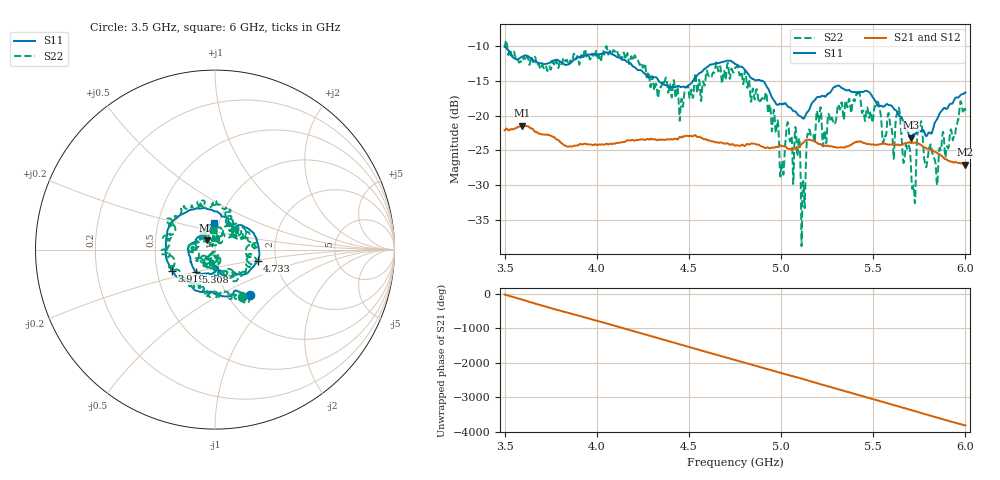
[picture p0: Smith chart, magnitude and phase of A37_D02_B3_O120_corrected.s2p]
! Created with skrf 1.9.0 (http://scikit-rf.org).
# Hz S RI R 50.0
!freq ReS11 ImS11 ReS21 ImS21 ReS12 ImS12 ReS22 ImS22
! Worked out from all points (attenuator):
!   1601 points, 3.5 GHz to 6 GHz, reference 50 ohm
!   highest |S21| = -21.45 dB at 3.594 GHz (marker M1); lowest = -27.0 dB at 6 GHz (marker M2)
!   lowest |S11| = -23.2 dB at 5.703 GHz (marker M3), VSWR 1.15, Z = 45.5 + j4.83 ohm
!   |S11| at or under -10 dB: 3.501 GHz to end of sweep
!   |S22| runs from -38.8 to -9.2 dB; largest |S21 - S12| = 0.00096
!   S11 on the Smith chart (normalised r, x): 3.5 GHz: 1.26, -0.71; 3.919 GHz: 0.60, -0.15; 4.733 GHz: 1.60, -0.22; 5.308 GHz: 0.78, -0.20; 6 GHz: 0.95, +0.28
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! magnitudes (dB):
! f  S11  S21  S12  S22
! 3.5 GHz  -10.0  -22.1  -22.1  -10.3
! 3.594 GHz  -11.5  -21.4  -21.5  -12.3
! 3.917 GHz  -11.5  -24.1  -24.1  -11.3
! 3.919 GHz  -11.5  -24.1  -24.1  -11.4
! 4.334 GHz  -14.9  -23.5  -23.4  -17.2
! 4.733 GHz  -12.2  -24.1  -24.1  -13.3
! 4.75 GHz  -12.5  -24.3  -24.3  -13.1
! 4.927 GHz  -16.0  -24.6  -24.5  -18.6
! 5.005 GHz  -18.3  -24.3  -24.4  -26.6
! 5.034 GHz  -18.6  -24.7  -24.6  -21.1
! 5.088 GHz  -19.7  -24.7  -24.7  -25.8
! 5.119 GHz  -20.4  -23.9  -23.9  -29.5
! 5.147 GHz  -19.4  -23.5  -23.5  -22.7
! 5.167 GHz  -18.2  -23.6  -23.5  -22.9
! 5.308 GHz  -15.7  -24.6  -24.5  -18.5
! 5.584 GHz  -18.5  -24.2  -24.1  -19.6
! 5.638 GHz  -19.9  -24.2  -24.2  -18.9
! 5.703 GHz  -23.2  -23.9  -23.9  -26.6
! 5.72 GHz  -22.6  -23.9  -23.9  -30.2
! 5.755 GHz  -22.3  -24.1  -24.1  -21.1
! 5.842 GHz  -20.7  -25.3  -25.2  -28.6
! 6 GHz  -16.6  -27.0  -27.0  -19.3
